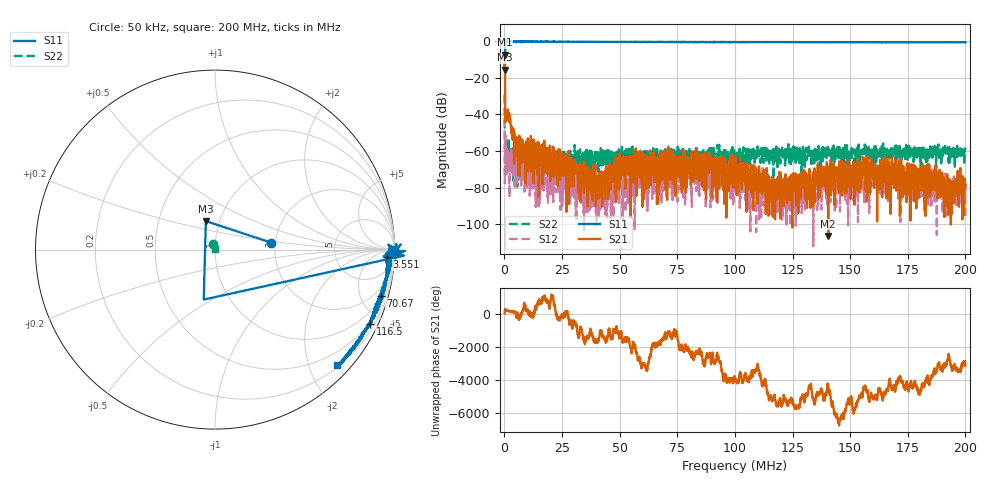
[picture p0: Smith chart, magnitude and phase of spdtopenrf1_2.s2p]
! 26-Feb-26 10:57:21 AM
! E:\VNA_MEASUREMENTS\SPDT1_OPENSHORT\SPDTOPENRF1_2.S2P
! CHANNEL.1
! TR.MEASUREMENT
! CORRECTED.DATA
# GHZ S RI R 50.0
! FREQ.GHZ  S11RE  S11IM  S21RE  S21IM  S12RE  S12IM  S22RE  S22IM
!; PortSelection: Port_12
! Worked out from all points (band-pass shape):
!   2000 points, 50 kHz to 200 MHz, reference 50 ohm
!   highest |S21| = -7.20 dB at 50 kHz (marker M1); lowest = -106.4 dB at 140.5 MHz (marker M2)
!   |S21| within 3 dB of the highest: start of sweep to 151.1 kHz
!   lowest |S11| = -15.6 dB at 150 kHz (marker M3), VSWR 1.40, Z = 43 + j14.1 ohm
!   |S11| at or under -10 dB: 50.02 kHz to 257.9 kHz (207.9 kHz wide, 135 % of centre)
!   |S22| runs from -88.9 to -29.2 dB; largest |S21 - S12| = 0.43
!   S11 on the Smith chart (normalised r, x): 50 kHz: 1.91, +0.16; 3.551 MHz: 23, -23; 70.67 MHz: 1.14, -7.11; 116.5 MHz: 0.45, -4.37; 200 MHz: 0.23, -2.50
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5e-05  0.3139 0.0384  0.3736 0.2259  0.00755 -0.00256  -0.0094 0.0335
0.000150025  -0.051 0.1589  -0.3024 0.0785  7.69e-05 0.000106  0.00312 -0.00258
0.0012503  0.9973 -0.0313  -0.00731 -0.00677  0.000681 -0.000302  0.000755 0.000829
0.003550875  0.9572 -0.0415  -0.00121 0.00207  0.000481 3.14e-05  0.000644 0.000239
0.006251551  0.9714 -0.0216  0.000925 -0.000101  0.000461 3.55e-05  0.000488 1.43e-05
0.01915478  0.9766 -0.0825  2.12e-05 -0.000258  -0.000114 7.7e-05  0.000316 3.9e-06
0.02265565  0.9645 -0.0861  0.000216 7.99e-05  7.03e-05 -0.000185  0.000175 2.84e-05
0.03345835  0.9571 -0.1282  -0.000152 0.000196  -5.91e-05 -4.22e-05  0.000259 0.000302
0.04266065  0.9518 -0.1638  -0.000138 0.000117  3.15e-05 -2.09e-05  0.000356 0.000186
0.06676668  0.9338 -0.2431  0.000402 -0.000299  5.04e-05 -0.000171  0.000526 0.000631
0.07066766  0.9225 -0.258  0.000326 -0.000354  -0.000184 -3.04e-05  7.28e-05 0.000699
0.08327081  0.9097 -0.3027  3e-05 -0.000172  0.000413 0.000122  0.000221 0.00118
0.09637409  0.8923 -0.341  0.000137 -0.000231  5.06e-05 -6.79e-05  0.000703 0.000469
0.09847461  0.8872 -0.3544  0.000315 -0.000134  1.6e-05 -7.62e-05  0.000387 0.000432
0.100075  0.8897 -0.362  0.000137 2.83e-05  9.05e-05 -0.00015  0.000496 0.000383
0.1031758  0.8752 -0.3777  -6.91e-05 -0.000343  -9.76e-05 -4.88e-05  0.000276 0.000393
0.1164791  0.8637 -0.4122  -1.23e-05 -1.01e-05  -3.89e-05 0.00011  0.000921 0.000532
0.1333833  0.8293 -0.4597  5.58e-05 -9.94e-05  3.34e-05 -4.4e-06  -4.89e-05 0.000793
0.1404851  0.818 -0.4815  4.2e-06 -2.3e-06  5.33e-05 -8.35e-05  0.000473 0.00105
0.1462866  0.8067 -0.5019  8.72e-05 -0.000328  0.000407 -7.55e-05  0.000397 0.000257
0.1666917  0.7632 -0.5638  0.000161 -2.13e-05  -5.23e-05 0.000314  0.000793 0.00083
0.2  0.6824 -0.6451  -6.2e-05 0.000102  -1.63e-05 1.8e-06  0.000318 0.00119
